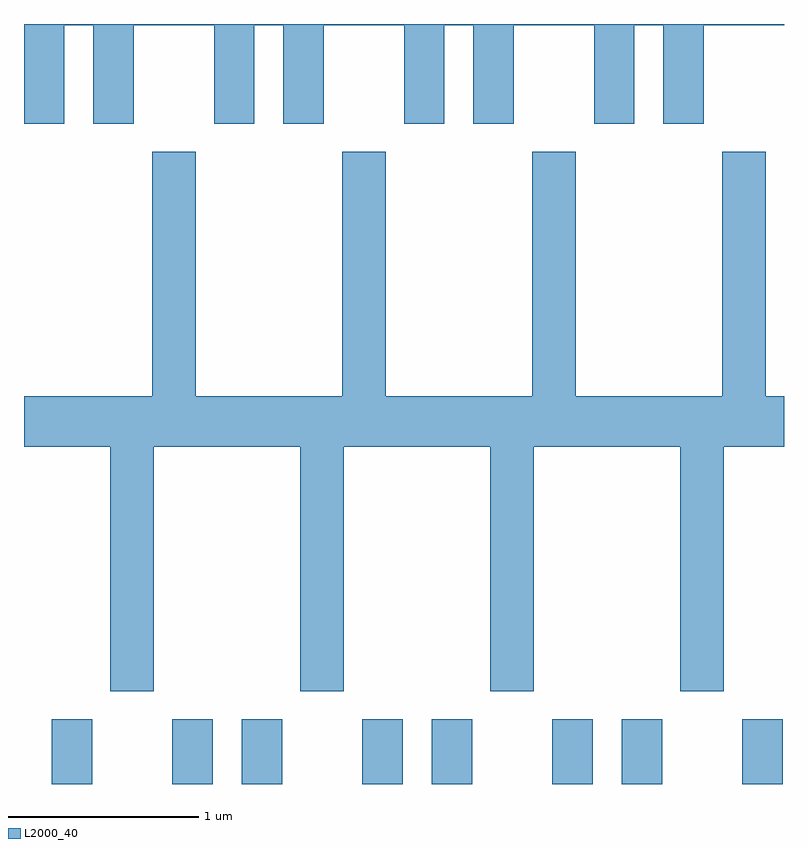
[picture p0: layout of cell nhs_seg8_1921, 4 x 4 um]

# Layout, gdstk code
import gdstk
lib = gdstk.Library(unit=1e-6, precision=1e-09)
def R(c, l, rs):  # rectangles x0, y0, x1, y1
    for r in rs: c.add(gdstk.rectangle(r[:2], r[2:], *l))
def P(c, l, *ps):  # polygons
    for p in ps: c.add(gdstk.Polygon(p, *l))
L2000_40 = (2000, 40)

nhs_seg8_1921 = lib.new_cell('nhs_seg8_1921')
R(nhs_seg8_1921, L2000_40, [(241.756,1912.342,241.969,1912.684), (242.391,1912.342,242.604,1912.684), (242.756,1912.342,242.969,1912.684), (243.391,1912.342,243.604,1912.684), (243.756,1912.342,243.969,1912.684), (244.391,1912.342,244.604,1912.684), (244.756,1912.342,244.969,1912.684), (245.391,1912.342,245.604,1912.684)])
P(nhs_seg8_1921, L2000_40, [(241.824,1916.336),(241.976,1916.336),(241.976,1915.816),(242.189,1915.816),(242.189,1916.336),(242.611,1916.336),(242.611,1915.816),(242.824,1915.816),(242.824,1916.336),(242.976,1916.336),(242.976,1915.816),(243.189,1915.816),(243.189,1916.336),(243.611,1916.336),(243.611,1915.816),(243.824,1915.816),(243.824,1916.336),(243.976,1916.336),(243.976,1915.816),(244.189,1915.816),(244.189,1916.336),(244.611,1916.336),(244.611,1915.816),(244.824,1915.816),(244.824,1916.336),(244.976,1916.336),(244.976,1915.816),(245.189,1915.816),(245.189,1916.336),(245.611,1916.336),(245.611,1916.342),(241.611,1916.342),(241.611,1915.816),(241.824,1915.816)],
  [(242.294,1914.116),(243.066,1914.116),(243.066,1912.831),(243.294,1912.831),(243.294,1914.116),(244.066,1914.116),(244.066,1912.831),(244.294,1912.831),(244.294,1914.116),(245.066,1914.116),(245.066,1912.831),(245.294,1912.831),(245.294,1914.116),(245.611,1914.116),(245.611,1914.384),(245.514,1914.384),(245.514,1915.669),(245.286,1915.669),(245.286,1914.384),(244.514,1914.384),(244.514,1915.669),(244.286,1915.669),(244.286,1914.384),(243.514,1914.384),(243.514,1915.669),(243.286,1915.669),(243.286,1914.384),(242.514,1914.384),(242.514,1915.669),(242.286,1915.669),(242.286,1914.384),(241.611,1914.384),(241.611,1914.116),(242.066,1914.116),(242.066,1912.831),(242.294,1912.831)])

lib.write_gds('nhs_seg8_1921.gds')
